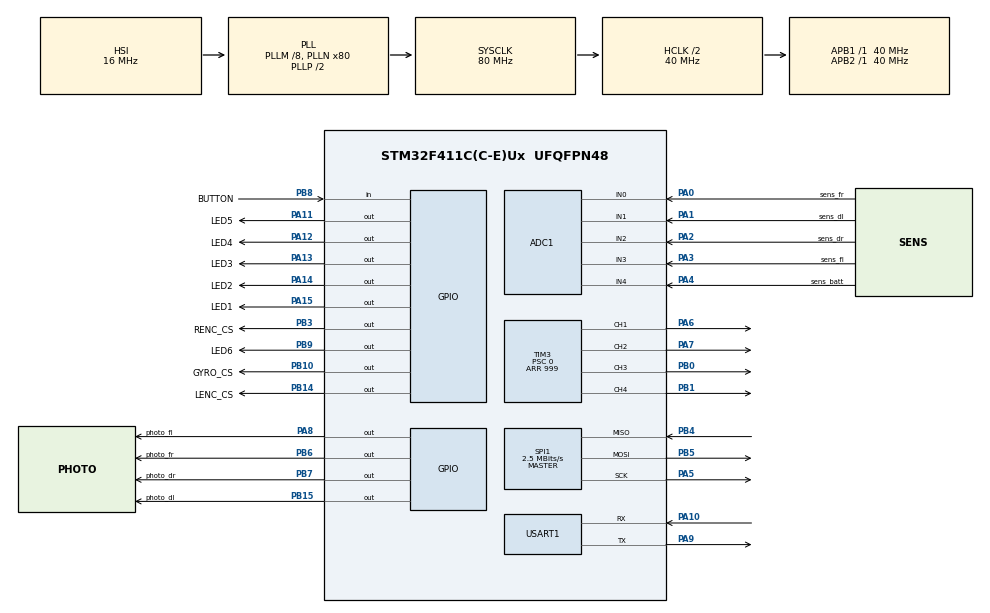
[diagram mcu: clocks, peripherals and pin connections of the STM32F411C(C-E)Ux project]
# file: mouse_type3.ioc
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ADC1.Channel-0\#ChannelRegularConversion=ADC_CHANNEL_0
ADC1.Channel-1\#ChannelRegularConversion=ADC_CHANNEL_1
ADC1.Channel-2\#ChannelRegularConversion=ADC_CHANNEL_2
ADC1.Channel-3\#ChannelRegularConversion=ADC_CHANNEL_3
ADC1.Channel-4\#ChannelRegularConversion=ADC_CHANNEL_4
ADC1.ClockPrescaler=ADC_CLOCK_SYNC_PCLK_DIV4
ADC1.ContinuousConvMode=DISABLE
ADC1.DMAContinuousRequests=ENABLE
ADC1.DiscontinuousConvMode=ENABLE
ADC1.EOCSelection=ADC_EOC_SEQ_CONV
ADC1.ExternalTrigConv=ADC_EXTERNALTRIGCONV_T5_CC1
ADC1.ExternalTrigConvEdge=ADC_EXTERNALTRIGCONVEDGE_FALLING
ADC1.NbrOfConversion=5
ADC1.NbrOfConversionFlag=1
ADC1.Rank-0\#ChannelRegularConversion=1
ADC1.Rank-1\#ChannelRegularConversion=2
ADC1.Rank-2\#ChannelRegularConversion=3
ADC1.Rank-3\#ChannelRegularConversion=4
ADC1.Rank-4\#ChannelRegularConversion=5
ADC1.SamplingTime-0\#ChannelRegularConversion=ADC_SAMPLETIME_15CYCLES
ADC1.SamplingTime-1\#ChannelRegularConversion=ADC_SAMPLETIME_15CYCLES
ADC1.SamplingTime-2\#ChannelRegularConversion=ADC_SAMPLETIME_15CYCLES
ADC1.SamplingTime-3\#ChannelRegularConversion=ADC_SAMPLETIME_15CYCLES
ADC1.SamplingTime-4\#ChannelRegularConversion=ADC_SAMPLETIME_15CYCLES
ADC1.master=1
Dma.ADC1.0.Direction=DMA_PERIPH_TO_MEMORY
Dma.ADC1.0.FIFOMode=DMA_FIFOMODE_DISABLE
Dma.ADC1.0.Instance=DMA2_Stream0
Dma.ADC1.0.MemDataAlignment=DMA_MDATAALIGN_HALFWORD
Dma.ADC1.0.MemInc=DMA_MINC_ENABLE
Dma.ADC1.0.Mode=DMA_CIRCULAR
Dma.ADC1.0.PeriphDataAlignment=DMA_PDATAALIGN_HALFWORD
Dma.ADC1.0.PeriphInc=DMA_PINC_DISABLE
Dma.ADC1.0.Priority=DMA_PRIORITY_VERY_HIGH
Dma.Request0=ADC1
Dma.Request1=SPI1_RX
Dma.Request2=SPI1_TX
Dma.SPI1_RX.1.Direction=DMA_PERIPH_TO_MEMORY
Dma.SPI1_RX.1.FIFOMode=DMA_FIFOMODE_DISABLE
Dma.SPI1_RX.1.Instance=DMA2_Stream2
Dma.SPI1_RX.1.MemDataAlignment=DMA_MDATAALIGN_BYTE
Dma.SPI1_RX.1.MemInc=DMA_MINC_ENABLE
Dma.SPI1_RX.1.Mode=DMA_NORMAL
Dma.SPI1_RX.1.PeriphDataAlignment=DMA_PDATAALIGN_BYTE
Dma.SPI1_RX.1.PeriphInc=DMA_PINC_DISABLE
Dma.SPI1_RX.1.Priority=DMA_PRIORITY_HIGH
Dma.SPI1_TX.2.Direction=DMA_MEMORY_TO_PERIPH
Dma.SPI1_TX.2.FIFOMode=DMA_FIFOMODE_DISABLE
Dma.SPI1_TX.2.Instance=DMA2_Stream3
Dma.SPI1_TX.2.MemDataAlignment=DMA_MDATAALIGN_BYTE
Dma.SPI1_TX.2.MemInc=DMA_MINC_ENABLE
Dma.SPI1_TX.2.Mode=DMA_NORMAL
Dma.SPI1_TX.2.PeriphDataAlignment=DMA_PDATAALIGN_BYTE
Dma.SPI1_TX.2.PeriphInc=DMA_PINC_DISABLE
Dma.SPI1_TX.2.Priority=DMA_PRIORITY_HIGH
Mcu.Family=STM32F4
Mcu.Name=STM32F411C(C-E)Ux
Mcu.Package=UFQFPN48
NVIC.DMA2_Stream0_IRQn=true\:1\:0\:true\:false\:true\:false\:true
NVIC.DMA2_Stream2_IRQn=true\:1\:0\:true\:false\:true\:false\:true
NVIC.DMA2_Stream3_IRQn=true\:1\:0\:true\:false\:true\:false\:true
NVIC.PriorityGroup=NVIC_PRIORITYGROUP_4
NVIC.TIM1_UP_TIM10_IRQn=true\:2\:0\:true\:false\:true\:true\:true
NVIC.TIM4_IRQn=true\:2\:0\:true\:false\:true\:true\:true
NVIC.TIM5_IRQn=true\:0\:0\:true\:false\:true\:true\:true
PA0-WKUP.GPIO_Label=sens_fr
PA0-WKUP.Signal=ADCx_IN0
PA1.GPIO_Label=sens_dl
PA1.Signal=ADCx_IN1
PA10.Mode=Asynchronous
PA10.Signal=USART1_RX
PA11.GPIO_Label=LED5
PA11.Signal=GPIO_Output
PA12.GPIO_Label=LED4
PA12.Signal=GPIO_Output
PA13.GPIO_Label=LED3
PA13.Signal=GPIO_Output
PA14.GPIO_Label=LED2
PA14.Signal=GPIO_Output
PA15.GPIO_Label=LED1
PA15.PinState=GPIO_PIN_RESET
PA15.Signal=GPIO_Output
PA2.GPIO_Label=sens_dr
PA2.Signal=ADCx_IN2
PA3.GPIO_Label=sens_fl
PA3.Signal=ADCx_IN3
PA4.GPIO_Label=sens_batt
PA4.Signal=ADCx_IN4
PA5.Mode=Full_Duplex_Master
PA5.Signal=SPI1_SCK
PA6.GPIO_PuPd=GPIO_PULLDOWN
PA6.Signal=S_TIM3_CH1
PA7.GPIO_PuPd=GPIO_PULLDOWN
PA7.Signal=S_TIM3_CH2
PA8.GPIO_Label=photo_fl
PA8.Signal=GPIO_Output
PA9.Mode=Asynchronous
PA9.Signal=USART1_TX
PB0.GPIO_PuPd=GPIO_PULLDOWN
PB0.Signal=S_TIM3_CH3
PB1.GPIO_PuPd=GPIO_PULLDOWN
PB1.Signal=S_TIM3_CH4
PB10.GPIO_Label=GYRO_CS
PB10.PinState=GPIO_PIN_RESET
PB10.Signal=GPIO_Output
PB14.GPIO_Label=LENC_CS
PB14.Signal=GPIO_Output
PB15.GPIO_Label=photo_dl
PB15.Signal=GPIO_Output
PB3.GPIO_Label=RENC_CS
PB3.PinState=GPIO_PIN_RESET
PB3.Signal=GPIO_Output
PB4.Mode=Full_Duplex_Master
PB4.Signal=SPI1_MISO
PB5.Mode=Full_Duplex_Master
PB5.Signal=SPI1_MOSI
PB6.GPIO_Label=photo_fr
PB6.Signal=GPIO_Output
PB7.GPIO_Label=photo_dr
PB7.Signal=GPIO_Output
PB8.GPIO_Label=BUTTON
PB8.Signal=GPIO_Input
PB9.GPIO_Label=LED6
PB9.PinState=GPIO_PIN_RESET
PB9.Signal=GPIO_Output
ProjectManager.HeapSize=0x200
ProjectManager.StackSize=0x400
ProjectManager.TargetToolchain=STM32CubeIDE
RCC.48MHZClocksFreq_Value=40000000
RCC.AHBCLKDivider=RCC_SYSCLK_DIV2
RCC.AHBFreq_Value=40000000
RCC.APB1Freq_Value=40000000
RCC.APB1TimFreq_Value=40000000
RCC.APB2Freq_Value=40000000
RCC.APB2TimFreq_Value=40000000
RCC.CortexFreq_Value=40000000
RCC.HCLKFreq_Value=40000000
RCC.HSE_VALUE=25000000
RCC.HSI_VALUE=16000000
RCC.LSE_VALUE=32768
RCC.PLLM=8
RCC.PLLN=80
RCC.SYSCLKFreq_VALUE=80000000
RCC.SYSCLKSource=RCC_SYSCLKSOURCE_PLLCLK
RCC.VCOOutputFreq_Value=160000000
SH.ADCx_IN0.0=ADC1_IN0,IN0
SH.ADCx_IN1.0=ADC1_IN1,IN1
SH.ADCx_IN2.0=ADC1_IN2,IN2
SH.ADCx_IN3.0=ADC1_IN3,IN3
SH.ADCx_IN4.0=ADC1_IN4,IN4
SH.S_TIM3_CH1.0=TIM3_CH1,PWM Generation1 CH1
SH.S_TIM3_CH2.0=TIM3_CH2,PWM Generation2 CH2
SH.S_TIM3_CH3.0=TIM3_CH3,PWM Generation3 CH3
SH.S_TIM3_CH4.0=TIM3_CH4,PWM Generation4 CH4
SPI1.BaudRatePrescaler=SPI_BAUDRATEPRESCALER_16
SPI1.CLKPhase=SPI_PHASE_2EDGE
SPI1.CLKPolarity=SPI_POLARITY_HIGH
SPI1.CalculateBaudRate=2.5 MBits/s
SPI1.Direction=SPI_DIRECTION_2LINES
SPI1.Mode=SPI_MODE_MASTER
SPI1.VirtualType=VM_MASTER
TIM10.Channel=TIM_CHANNEL_1
TIM10.Period=1000-1
TIM10.Prescaler=40-1
TIM2.Period=1000-1
TIM2.Prescaler=40-1
TIM3.Channel-PWM\ Generation1\ CH1=TIM_CHANNEL_1
TIM3.Channel-PWM\ Generation2\ CH2=TIM_CHANNEL_2
TIM3.Channel-PWM\ Generation3\ CH3=TIM_CHANNEL_3
TIM3.Channel-PWM\ Generation4\ CH4=TIM_CHANNEL_4
TIM3.Period=999
TIM3.Prescaler=0
TIM3.Pulse-PWM\ Generation1\ CH1=0
TIM3.Pulse-PWM\ Generation3\ CH3=0
TIM4.Channel-PWM\ Generation1\ No\ Output=TIM_CHANNEL_1
TIM4.Period=1000-1
TIM4.Prescaler=10-1
TIM4.Pulse-PWM\ Generation1\ No\ Output=4
TIM5.Channel-PWM\ Generation1\ No\ Output=TIM_CHANNEL_1
TIM5.Channel-PWM\ Generation2\ No\ Output=TIM_CHANNEL_2
TIM5.Channel-PWM\ Generation3\ No\ Output=TIM_CHANNEL_3
TIM5.Period=1000-1
TIM5.Prescaler=8-1
TIM5.Pulse-PWM\ Generation1\ No\ Output=150
TIM5.Pulse-PWM\ Generation2\ No\ Output=50
TIM5.Pulse-PWM\ Generation3\ No\ Output=300
USART1.VirtualMode=VM_ASYNC
VP_TIM10_VS_ClockSourceINT.Mode=Enable_Timer
VP_TIM10_VS_no_output1.Mode=PWM Generation1 No Output
VP_TIM2_VS_ClockSourceINT.Mode=Internal
VP_TIM3_VS_ClockSourceINT.Mode=Internal
VP_TIM4_VS_ClockSourceINT.Mode=Internal
VP_TIM4_VS_no_output1.Mode=PWM Generation1 No Output
VP_TIM5_VS_no_output1.Mode=PWM Generation1 No Output
VP_TIM5_VS_no_output2.Mode=PWM Generation2 No Output
VP_TIM5_VS_no_output3.Mode=PWM Generation3 No Output
board=custom

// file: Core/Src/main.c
/* USER CODE BEGIN Header */
/**
  ******************************************************************************
  * @file           : main.c
  * @brief          : Main program body
  ******************************************************************************
  * @attention
  *
  * <h2><center>&copy; Copyright (c) 2021 STMicroelectronics.
  * All rights reserved.</center></h2>
  *
  * This software component is licensed by ST under BSD 3-Clause license,
  * the "License"; You may not use this file except in compliance with the
  * License. You may obtain a copy of the License at:
  *                        opensource.org/licenses/BSD-3-Clause
  *
  ******************************************************************************
  */
/* USER CODE END Header */

#include "main.h"
#include "adc.h"
#include "dma.h"
#include "spi.h"
#include "tim.h"
#include "usart.h"
#include "gpio.h"

/* USER CODE BEGIN Includes */
#include <stdio.h>
#include <index.h>
#include <glob_var.h>
#include <ICM20648.h>
#include <mymacro.h>
/* USER CODE END Includes */

void SystemClock_Config(void);

int main(void)
{
  /* USER CODE BEGIN 1 */
	setbuf(stdout, NULL);
  /* USER CODE END 1 */

  /* MCU Configuration--------------------------------------------------------*/

  /* Reset of all peripherals, Initializes the Flash interface and the Systick. */
  HAL_Init();

  /* Configure the system clock */
  SystemClock_Config();

  /* Initialize all configured peripherals */
  MX_GPIO_Init();
  MX_DMA_Init();
  MX_ADC1_Init();
  MX_SPI1_Init();
  MX_TIM3_Init();
  MX_TIM2_Init();
  MX_USART1_UART_Init();
  MX_TIM5_Init();
  MX_TIM4_Init();
  MX_TIM10_Init();
  /* USER CODE BEGIN 2 */

  myspi_init();
  gyro_init();
  myspi_start();
  ir_sensor_Initialize();
  Motor_Start();
  interrupt_start();
  init_maze();
  int sx[1] = {0};		int sy[1] = {0};
  int gx[MAZE_GOAL_SIZE];	int gy[MAZE_GOAL_SIZE];
  for(int i = 0;i < MAZE_GOAL_SIZE;i++){
	  gx[i] = MAZE_GOAL_X + i;
	  gy[i] = MAZE_GOAL_Y + i;
  }

  /* USER CODE END 2 */

  /* Infinite loop */
  while (1)
  {

    /* USER CODE BEGIN 3 */
	  read_button();
	  switch( ((uint8_t)is_mode_enable) << 5 | mouse_mode ){
	  	  case ( 0x00 | MODE_ENABLE ):
				  //Motor_Set_Duty_Right(300);Motor_Set_Duty_Left(-300);
	  			 printf("%d,%d,%d,%d\n",enc_R.diff_pulse,enc_L.diff_pulse,enc_R.count,enc_L.count);
	  	  	  	 HAL_Delay(10);
	  		  break;
	  	  case ( 0x01 | MODE_ENABLE ):
	  			 printf("%d,%d,%d,%d,%d\n",adc_value[0],adc_value[1],adc_value[2],adc_value[3],adc_value[4]);
	  	  	  	 HAL_Delay(10);
	  	  	  break;
	  	  case ( 0x02 | MODE_ENABLE ):
	  			 printf("%f,%f,%f,%f\n",read_gyro_yaw(),read_gyro_x_axis(),read_gyro_y_axis(),read_accel_z_axis());
	  	  	  	 HAL_Delay(10);
	  		  break;
	  	  case ( 0x03 | MODE_ENABLE ):
				 printf("%f,%f,%f\n",speed,omega,len_mouse);
				 HAL_Delay(10);
	  		  break;
	  	  case ( 0x04 | MODE_ENABLE ):
				if( (sen_fl.value + sen_fr.value + sen_l.value + sen_r.value) > 1500*4  ){
					check_LED_toggle(5);
					len_mouse = degree =	0.0;
					mypos.x = mypos.y = 0;
					mypos.dir = north;
					straight(15.0,SEARCH_ACCEL,SEARCH_SPEED,SEARCH_SPEED);
					search_adachi(gx, gy,MAZE_GOAL_SIZE);
					HAL_Delay(100);save_data();
					search_adachi_zenmen2(sx, sy,1);
					HAL_Delay(100);save_data();
					turn_L180(SEARCH_TURN_ACCEL, SEARCH_TURN_SPEED);
					mypos.dir =(mypos.dir + 6) % 4;
					HAL_Delay(100);
					run_mode = NON_CON_MODE;log_flag = false;
					is_mode_enable = false;
				}

		      break;
	  	  case ( 0x05 | MODE_ENABLE ):
				if(	sen_fr.value + sen_l.value + sen_r.value + sen_fr.value	> 1500*4){
					check_LED_toggle(5);
					len_mouse = degree =	0.0;
					mypos.x = mypos.y = 0;
					mypos.dir = north;

					//straight(15.0,SEARCH_ACCEL,SEARCH_SPEED,SEARCH_SPEED);
					saitan4(gx, gy,MAZE_GOAL_SIZE);
					HAL_Delay(100);	//save_data();
					saitan4(sx, sy,1);
					HAL_Delay(100); //save_data();

					turn_L180(SEARCH_TURN_ACCEL, SEARCH_TURN_SPEED);
					mypos.dir =(mypos.dir + 6) % 4;
					HAL_Delay(100);

					is_mode_enable = false;
	  		  	}
		  	  break;
	  	  case ( 0x06 | MODE_ENABLE ):
				if( (sen_fl.value + sen_fr.value + sen_l.value + sen_r.value)/4 > 2000 ){
					check_LED_toggle(5);
					len_mouse = degree =	0.0;
					mypos.x = mypos.y = 0;
					mypos.dir = north;

					//straight(15.0,SEARCH_ACCEL,SEARCH_SPEED,SEARCH_SPEED);
					saitan5(gx, gy,MAZE_GOAL_SIZE);
					HAL_Delay(100);	//save_data();

					saitan3(sx, sy,1);
					HAL_Delay(100); //save_data();

					turn_L180(SEARCH_TURN_ACCEL, SEARCH_TURN_SPEED);
					mypos.dir =(mypos.dir + 6) % 4;
					HAL_Delay(100);

					is_mode_enable = false;
				}
		  	  break;
	  	  case ( 0x07 | MODE_ENABLE ):
				if( (sen_fl.value + sen_fr.value + sen_l.value + sen_r.value) > 1500*4 ){
					check_LED_toggle(5);
								  //disp_map();
					print_log();		HAL_Delay(10);
					print_irsens_log();	HAL_Delay(10);
					is_mode_enable = false;
				}
		  	  break;
	  	  case ( 0x08 | MODE_ENABLE ):
				if( (sen_fl.value + sen_fr.value + sen_l.value + sen_r.value) > 1500*4   ){
					check_LED_toggle(5);
					len_mouse = degree =	0.0;
					mypos.x = mypos.y = 0;
					mypos.dir = north;
					straight(15.0,SEARCH_ACCEL,SEARCH_SPEED,SEARCH_SPEED);
					search_adachi(gx, gy,MAZE_GOAL_SIZE);
					HAL_Delay(100);save_data();
					search_adachi(sx, sy,1);
					HAL_Delay(100);save_data();
					turn_L180(SEARCH_TURN_ACCEL, SEARCH_TURN_SPEED);
					mypos.dir =(mypos.dir + 6) % 4;
					HAL_Delay(100);
					run_mode = NON_CON_MODE;log_flag = false;
					is_mode_enable = false;
				}
		  	  break;
	  	  case ( 0x09 | MODE_ENABLE ):
				if( (sen_fl.value + sen_fr.value + sen_l.value + sen_r.value) > 1500*4  ){
					check_LED_toggle(5);
					len_mouse = degree =	0.0;
					mypos.x = mypos.y = 0;
					mypos.dir = north;
					saitan4(gx, gy,MAZE_GOAL_SIZE);
					HAL_Delay(100);save_data();
					search_adachi(sx, sy,1);
					HAL_Delay(100);save_data();
					turn_L180(SEARCH_TURN_ACCEL, SEARCH_TURN_SPEED);
					mypos.dir =(mypos.dir + 6) % 4;
					HAL_Delay(100);
					run_mode = NON_CON_MODE;log_flag = false;
					is_mode_enable = false;
				}
		  	  break;
	  	  case ( 0x0A | MODE_ENABLE ):
				if( (sen_fl.value + sen_fr.value + sen_l.value + sen_r.value) > 1500*4  ){
					check_LED_toggle(5);
					is_mode_enable = false;
				}
		  	  break;
	  	  case ( 0x0B | MODE_ENABLE ):
				if( (sen_fl.value + sen_fr.value + sen_l.value + sen_r.value) > 1500*4  ){
					check_LED_toggle(5);
					len_mouse = degree =	0.0;
					mypos.x = mypos.y = 0;
					mypos.dir = north;
					saitan4(gx, gy,MAZE_GOAL_SIZE);
					HAL_Delay(100);save_data();
					search_adachi(sx, sy,1);
					HAL_Delay(100);save_data();
					turn_L180(SEARCH_TURN_ACCEL, SEARCH_TURN_SPEED);
					mypos.dir =(mypos.dir + 6) % 4;
					HAL_Delay(100);
					run_mode = NON_CON_MODE;log_flag = false;
					is_mode_enable = false;
				}
		  	  break;
	  	  case ( 0x0C | MODE_ENABLE ):
				if( (sen_fl.value + sen_fr.value + sen_l.value + sen_r.value) > 1500*4  ){
					check_LED_toggle(5);
					len_mouse = 0.0; degree = 0.0;
					log_flag = true;log_count = 0;
					STOP_WALL2(10000);
					run_mode = NON_CON_MODE;log_flag = false;
					is_mode_enable = false;
				}
		  	  break;
	  	  case ( 0x0D | MODE_ENABLE ):
				if( (sen_fl.value + sen_fr.value + sen_l.value + sen_r.value) > 1500*4  ){
					check_LED_toggle(5);
					disp_map();
					is_mode_enable = false;

				}
		  	  break;
	  	  case ( 0x0E | MODE_ENABLE ):
				  if( (sen_fl.value + sen_fr.value + sen_l.value + sen_r.value)/4 > 2000 ){
					check_LED_toggle(5);
					write_save_data();
					NVIC_SystemReset();
					HAL_Delay(10);
					is_mode_enable = false;
				  }
		  	  break;
	  	  case ( 0x0F | MODE_ENABLE ):
				if( (sen_fl.value + sen_fr.value + sen_l.value + sen_r.value)/4 > 2000 ){
	 				check_LED_toggle(5);
	  				read_save_data();
	  				HAL_Delay(10);
	  				is_mode_enable = false;
				}
		  	  break;

	  	  case ( 0x10 | MODE_ENABLE ):
				if( (sen_fl.value + sen_fr.value + sen_l.value + sen_r.value)/4 > 2000 ){
					check_LED_toggle(5);
					len_mouse = degree =	0.0;
					mypos.x = mypos.y = 0;
					mypos.dir = north;
					log_flag = true;log_count = 0;
					straight(15.0+SECTION,SEARCH_ACCEL,SEARCH_SPEED,0);
					HAL_Delay(100);

					run_mode = NON_CON_MODE;
					log_flag = false;
					is_mode_enable = false;
				}
		  	  break;
	  	  case ( 0x11 | MODE_ENABLE ):
	  			if( (sen_fl.value + sen_fr.value + sen_l.value + sen_r.value)/4 > 2000 ){
	  		  		check_LED_toggle(5);
	  		  		adjustment_slalom_L2();
	  		  		is_mode_enable = false;
	  		  	}
		  	  break;
	  	  case ( 0x12 | MODE_ENABLE ):
	  			if( (sen_fl.value + sen_fr.value + sen_l.value + sen_r.value)/4 > 2000 ){
	  				check_LED_toggle(5);
	  				adjustment_slalom_R2();
	  		  		is_mode_enable = false;
	  		   	}
		  	  break;
	  	  case ( 0x13 | MODE_ENABLE ):

	  			  	//printf("****************************\n");
	  	  	  	  	//printf("gyro_roll->%4.2f,gyro_pitch->%4.2f,gyro_yaw->%4.2f\n",gyro_2_theta_roll,gyro_2_theta_pitch,gyro_2_theta_yaw);
					//printf("q0->%0.4f,q1->%0.4f,q2->%0.4f,q3->%0.4f\n",q0,q1,q2,q3);
	  		  		printf("roll->,%4.2f,pitch->,%4.2f,yaw->,%4.2f\n",theta_roll* 57.3,theta_pitch* 57.3,theta_yaw* 57.3);
	  		  	  	HAL_Delay(10);
		  	  break;
	  	  case ( 0x14 | MODE_ENABLE ):
		  	  break;
	  	  case ( 0x15 | MODE_ENABLE ):
		  	  break;
	  	  case ( 0x16 | MODE_ENABLE ):
		  	  break;
	  	  case ( 0x17 | MODE_ENABLE ):
		  	  break;
	  	  case ( 0x18 | MODE_ENABLE ):
		  	  break;
	  	  case ( 0x19 | MODE_ENABLE ):
		  	  break;
	  	  case ( 0x1A | MODE_ENABLE ):
		  	  break;
	  	  case ( 0x1B | MODE_ENABLE ):
		  	  break;
	  	  case ( 0x1C | MODE_ENABLE ):
		  	  break;
	  	  case ( 0x1D | MODE_ENABLE ):
		  	  break;
	  	  case ( 0x1E | MODE_ENABLE ):
		  	  break;
	  	  case ( 0x1F | MODE_ENABLE ):
		  	  break;
	  }
  }
  /* USER CODE END 3 */
}

void SystemClock_Config(void)
{
  RCC_OscInitTypeDef RCC_OscInitStruct = {0};
  RCC_ClkInitTypeDef RCC_ClkInitStruct = {0};

  /** Configure the main internal regulator output voltage
  */
  __HAL_RCC_PWR_CLK_ENABLE();
  __HAL_PWR_VOLTAGESCALING_CONFIG(PWR_REGULATOR_VOLTAGE_SCALE1);
  /** Initializes the CPU, AHB and APB busses clocks
  */
  RCC_OscInitStruct.OscillatorType = RCC_OSCILLATORTYPE_HSI;
  RCC_OscInitStruct.HSIState = RCC_HSI_ON;
  RCC_OscInitStruct.HSICalibrationValue = RCC_HSICALIBRATION_DEFAULT;
  RCC_OscInitStruct.PLL.PLLState = RCC_PLL_ON;
  RCC_OscInitStruct.PLL.PLLSource = RCC_PLLSOURCE_HSI;
  RCC_OscInitStruct.PLL.PLLM = 8;
  RCC_OscInitStruct.PLL.PLLN = 80;
  RCC_OscInitStruct.PLL.PLLP = RCC_PLLP_DIV2;
  RCC_OscInitStruct.PLL.PLLQ = 4;
  if (HAL_RCC_OscConfig(&RCC_OscInitStruct) != HAL_OK)
  {
    Error_Handler();
  }
  /** Initializes the CPU, AHB and APB busses clocks
  */
  RCC_ClkInitStruct.ClockType = RCC_CLOCKTYPE_HCLK|RCC_CLOCKTYPE_SYSCLK
                              |RCC_CLOCKTYPE_PCLK1|RCC_CLOCKTYPE_PCLK2;
  RCC_ClkInitStruct.SYSCLKSource = RCC_SYSCLKSOURCE_PLLCLK;
  RCC_ClkInitStruct.AHBCLKDivider = RCC_SYSCLK_DIV2;
  RCC_ClkInitStruct.APB1CLKDivider = RCC_HCLK_DIV1;
  RCC_ClkInitStruct.APB2CLKDivider = RCC_HCLK_DIV1;

  if (HAL_RCC_ClockConfig(&RCC_ClkInitStruct, FLASH_LATENCY_1) != HAL_OK)
  {
    Error_Handler();
  }
}

/* USER CODE BEGIN 4 */
int _write(int file, char *ptr, int len)
{
  HAL_UART_Transmit(&huart1,(uint8_t *)ptr,len,10);
  return len;
}
/* USER CODE END 4 */

void Error_Handler(void)
{
}

/************************ (C) COPYRIGHT STMicroelectronics *****END OF FILE****/
